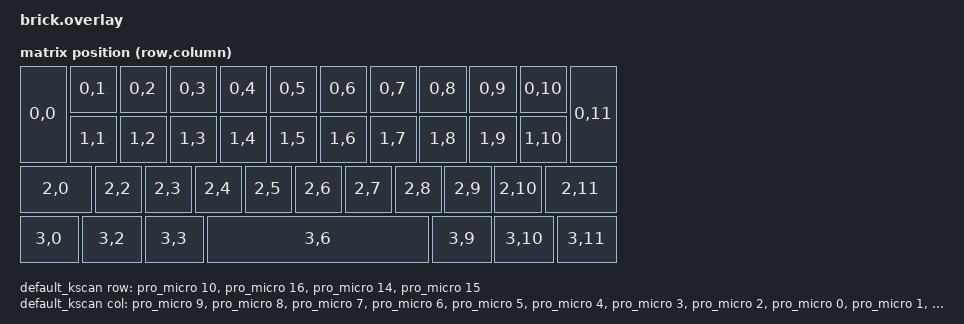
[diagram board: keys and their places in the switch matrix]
#include <dt-bindings/zmk/matrix_transform.h> // Put this with the other includes at the top of your
#include <physical_layouts.dtsi>


/ {  
    default_kscan: kscan {
        compatible = "zmk,kscan-gpio-matrix";
        label = "default_kscan";
        diode-direction = "col2row";
        poll-period-ms = <20>;

        row-gpios = <&pro_micro 10 (GPIO_ACTIVE_HIGH | GPIO_PULL_DOWN)>,
                    <&pro_micro 16 (GPIO_ACTIVE_HIGH | GPIO_PULL_DOWN)>,
                    <&pro_micro 14 (GPIO_ACTIVE_HIGH | GPIO_PULL_DOWN)>,
                    <&pro_micro 15 (GPIO_ACTIVE_HIGH | GPIO_PULL_DOWN)>;

        col-gpios = <&pro_micro 9 (GPIO_ACTIVE_HIGH)>,
                    <&pro_micro 8 (GPIO_ACTIVE_HIGH)>,
                    <&pro_micro 7 (GPIO_ACTIVE_HIGH)>,
                    <&pro_micro 6 (GPIO_ACTIVE_HIGH)>,
                    <&pro_micro 5 (GPIO_ACTIVE_HIGH)>,   
                    <&pro_micro 4 (GPIO_ACTIVE_HIGH)>,
                    <&pro_micro 3 (GPIO_ACTIVE_HIGH)>,
                    <&pro_micro 2 (GPIO_ACTIVE_HIGH)>,
                    <&pro_micro 0 (GPIO_ACTIVE_HIGH)>,
                    <&pro_micro 1 (GPIO_ACTIVE_HIGH)>,
                    <&pro_micro 21 (GPIO_ACTIVE_HIGH)>,
                    <&pro_micro 20 (GPIO_ACTIVE_HIGH)>;
    };
    
    default_transform: matrix_transform {
        compatible = "zmk,matrix-transform";
        rows = <4>;
        columns = <12>;

        map = <
        RC(0, 0) RC(0, 1) RC(0, 2) RC(0, 3) RC(0, 4) RC(0, 5) RC(0, 6) RC(0, 7) RC(0, 8) RC(0, 9) RC(0, 10) RC(0, 11)
                 RC(1, 1) RC(1, 2) RC(1, 3) RC(1, 4) RC(1, 5) RC(1, 6) RC(1, 7) RC(1, 8) RC(1, 9) RC(1, 10)          
        RC(2, 0)          RC(2, 2) RC(2, 3) RC(2, 4) RC(2, 5) RC(2, 6) RC(2, 7) RC(2, 8) RC(2, 9) RC(2, 10) RC(2, 11)                                  
        RC(3, 0)          RC(3, 2) RC(3, 3)                   RC(3, 6)                   RC(3, 9) RC(3, 10) RC(3, 11) 
        >;
    };
    
    
    physical_layout0: physical_layout_0 { // Physical-layout to be chosen in the chosen node
        compatible = "zmk,physical-layout"; // Required
        display-name = "Default Layout"; // Required
        transform = <&default_transform>; // Required, Label of the matrix transform for this layout
        kscan = <&default_kscan>; // Optional, Label of the kscan node
        
keys  //                     w   h    x    y     rot    rx    ry
            = <&key_physical_attrs 100 200    0    0       0     0     0>
            , <&key_physical_attrs 100 100  100    0       0     0     0>
            , <&key_physical_attrs 100 100  200    0       0     0     0>
            , <&key_physical_attrs 100 100  300    0       0     0     0>
            , <&key_physical_attrs 100 100  400    0       0     0     0>
            , <&key_physical_attrs 100 100  500    0       0     0     0>
            , <&key_physical_attrs 100 100  600    0       0     0     0>
            , <&key_physical_attrs 100 100  700    0       0     0     0>
            , <&key_physical_attrs 100 100  800    0       0     0     0>
            , <&key_physical_attrs 100 100  900    0       0     0     0>
            , <&key_physical_attrs 100 100 1000    0       0     0     0>
            , <&key_physical_attrs 100 200 1100    0       0     0     0>
            , <&key_physical_attrs 100 100  100  100       0     0     0>
            , <&key_physical_attrs 100 100  200  100       0     0     0>
            , <&key_physical_attrs 100 100  300  100       0     0     0>
            , <&key_physical_attrs 100 100  400  100       0     0     0>
            , <&key_physical_attrs 100 100  500  100       0     0     0>
            , <&key_physical_attrs 100 100  600  100       0     0     0>
            , <&key_physical_attrs 100 100  700  100       0     0     0>
            , <&key_physical_attrs 100 100  800  100       0     0     0>
            , <&key_physical_attrs 100 100  900  100       0     0     0>
            , <&key_physical_attrs 100 100 1000  100       0     0     0>
            , <&key_physical_attrs 150 100    0  200       0     0     0>
            , <&key_physical_attrs 100 100  150  200       0     0     0>
            , <&key_physical_attrs 100 100  250  200       0     0     0>
            , <&key_physical_attrs 100 100  350  200       0     0     0>
            , <&key_physical_attrs 100 100  450  200       0     0     0>
            , <&key_physical_attrs 100 100  550  200       0     0     0>
            , <&key_physical_attrs 100 100  650  200       0     0     0>
            , <&key_physical_attrs 100 100  750  200       0     0     0>
            , <&key_physical_attrs 100 100  850  200       0     0     0>
            , <&key_physical_attrs 100 100  950  200       0     0     0>
            , <&key_physical_attrs 150 100 1050  200       0     0     0>
            , <&key_physical_attrs 125 100    0  300       0     0     0>
            , <&key_physical_attrs 125 100  125  300       0     0     0>
            , <&key_physical_attrs 125 100  250  300       0     0     0>
            , <&key_physical_attrs 450 100  375  300       0     0     0>
            , <&key_physical_attrs 125 100  825  300       0     0     0>
            , <&key_physical_attrs 125 100  950  300       0     0     0>
            , <&key_physical_attrs 125 100 1075  300       0     0     0>
            ;
    };
    
    chosen {
        zmk,kscan = &default_kscan;// Required if it's the default kscan for all physical layouts
        zmk,physical-layout = &physical_layout0;
    };    
};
